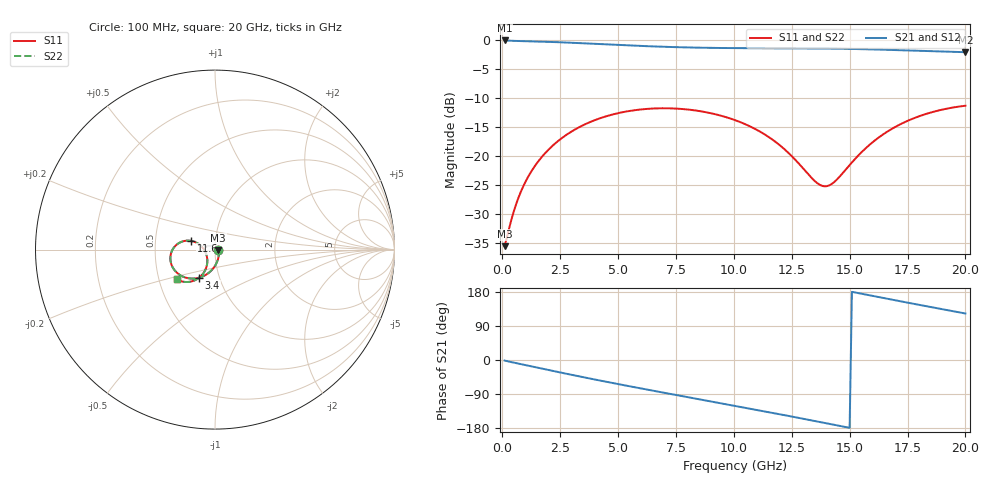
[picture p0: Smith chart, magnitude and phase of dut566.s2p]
! Touchstone file exported from HFSS 2026.1.0
!  File:  C:/ffzhzh/LocalFiles/Ansys_Project_Files/temp_train_TSV_RDL_566_1783117161_37876.aedt
!  Generated:  06:27:08 AM Jul  4, 2026
!  Design:  TSV_RDL
!  Project:  temp_train_TSV_RDL_566_1783117161_37876
! Variables:
!  h_bsmrdl = 4.99um
!  h_ox = 20um
!  h_rdl = 5um
!  h_sub = 62.23um
!  h_tmrdl = 5.66um
!  h_tsv = 62.23um
!  h_via = 3um
!  l_bsmrdl = 399.83um
!  l_sub = 4009.88um
!  l_tmrdl = 577.09um
!  m_sub = 200um
!  pitch = 19.58um
!  r_tsv = 5.44um
!  s_tmrdl = 10um
!  w_bsmrdl = 16.11um
!  w_sub = 500um
!  w_tmrdl = 17.9um
!  x_tsv_center1 = 586.04um
!  x_tsv_center2 = 1001.98um
!  x_tsv_center3 = 1596.97um
!  x_tsv_center4 = 2012.91um
!  x_tsv_center5 = 2607.9um
!  x_tsv_center6 = 3023.84um
# GHz S MA R 50.000000
! Terminal data exported
! Port[1] = TM_RDL1_1_T1
! Port[2] = TM_RDL5_1_T1
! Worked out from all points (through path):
!   200 points, 100 MHz to 20 GHz, reference 50 ohm
!   highest |S21| = -0.14 dB at 100 MHz (marker M1); lowest = -2.2 dB at 20 GHz (marker M2)
!   group delay of S21, straight-line fit = 32.5 ps
!   lowest |S11| = -35.5 dB at 100 MHz (marker M3), VSWR 1.03, Z = 51.7 - j0.271 ohm
!   |S11| at or under -10 dB: start of sweep to end of sweep
!   |S22| runs from -35.5 to -11.4 dB; largest |S21 - S12| = 5.5e-14
!   S11 on the Smith chart (normalised r, x): 100 MHz: 1.03, -0.01; 3.4 GHz: 0.80, -0.26; 11.6 GHz: 0.76, +0.08; 20 GHz: 0.62, -0.22
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0.1  0.01669 -9.0  0.9834 -1.5  0.9834 -1.5  0.01669 -9.0
! Gamma 0 0 0 0
! Port Impedance 50 0 50 0
0.4  0.02856 -41.6  0.9768 -5.6  0.9768 -5.6  0.02856 -41.6
0.7  0.04371 -62.4  0.973 -9.6  0.973 -9.6  0.0437 -62.4
1  0.05971 -75.0  0.9699 -13.5  0.9699 -13.5  0.05971 -75.0
1.3  0.07594 -83.8  0.9665 -17.4  0.9665 -17.4  0.07594 -83.8
1.7  0.09744 -92.7  0.9614 -22.6  0.9614 -22.6  0.09744 -92.7
2.2  0.1236 -101.7  0.9538 -29.0  0.9538 -29.0  0.1236 -101.7
3.4  0.1797 -119.4  0.9317 -44.2  0.9317 -44.2  0.1797 -119.4
3.5  0.1838 -120.7  0.9298 -45.4  0.9298 -45.4  0.1838 -120.7
5.1  0.2352 -140.7  0.898 -64.7  0.898 -64.7  0.2351 -140.7
6.8  0.2564 -159.6  0.8699 -84.3  0.8699 -84.3  0.2564 -159.7
8.4  0.2447 -175.9  0.853 -102.3  0.853 -102.3  0.2447 -175.9
10.1  0.2012 169.0  0.8448 -121.4  0.8448 -121.4  0.2011 168.9
11.6  0.1409 159.9  0.8426 -138.7  0.8426 -138.7  0.1408 159.8
12.4  0.104 160.0  0.8418 -148.0  0.8418 -148.0  0.1038 159.9
13.4  0.06328 177.1  0.8397 -159.9  0.8397 -159.9  0.06292 176.9
13.8  0.05527 -165.7  0.8383 -164.6  0.8383 -164.6  0.05485 -165.8
14.2  0.05677 -145.6  0.8366 -169.4  0.8366 -169.4  0.05637 -145.5
15.7  0.1165 -115.7  0.8262 172.6  0.8262 172.6  0.1163 -115.5
16.7  0.1649 -117.7  0.8163 160.7  0.8163 160.7  0.1647 -117.6
18.2  0.2259 -127.7  0.7989 143.2  0.7989 143.2  0.2259 -127.6
20  0.2698 -142.4  0.7793 122.8  0.7793 122.8  0.2697 -142.3
